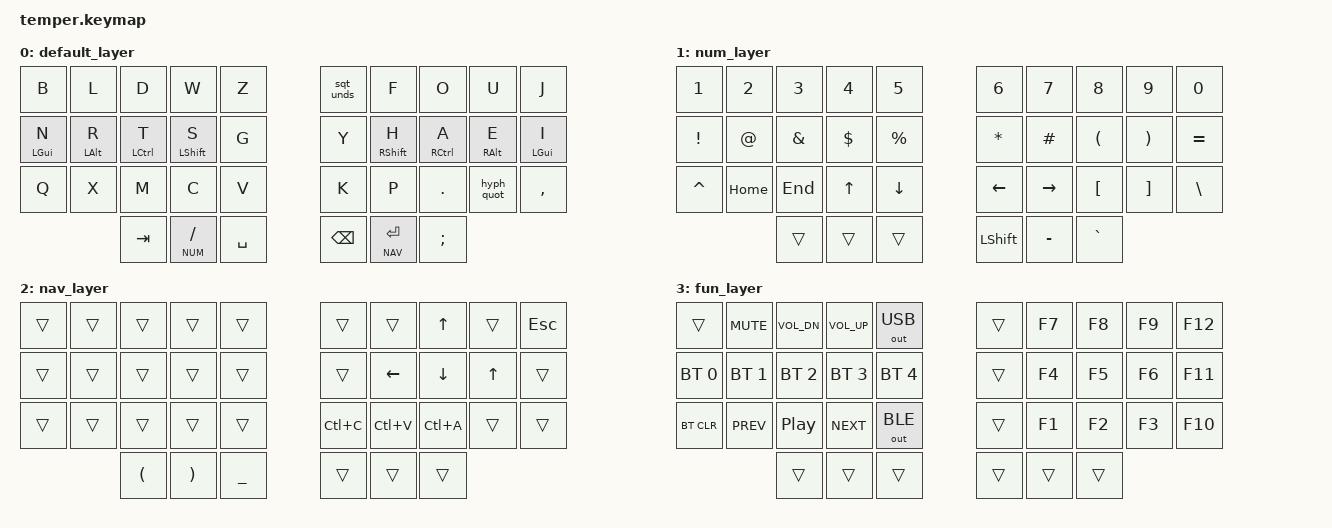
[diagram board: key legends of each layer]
/*
 * Copyright (c) 2020 The ZMK Contributors
 *
 * SPDX-License-Identifier: MIT
 */

#include <behaviors.dtsi>
#include <dt-bindings/zmk/keys.h>
#include <dt-bindings/zmk/bt.h>
#include <dt-bindings/zmk/outputs.h>

#define GRAPHITE 0
#define NUM 1
#define NAV 2
#define FUN 3

/ {
    conditional_layers {
        compatible = "zmk,conditional-layers";
        tri_layer {
            if-layers = <NUM NAV>;
            then-layer = <FUN>;
        };
    };
    behaviors {
        sqt_unds: apostrophe_underscore {
            compatible = "zmk,behavior-mod-morph";
            #binding-cells = <0>;
            bindings = <&kp SQT>, <&kp UNDER>;
            mods = <(MOD_LSFT|MOD_RSFT)>;
            keep-mods = <(MOD_RSFT)>;
        };
        hyph_quot: hyphen_doublequotes {
            compatible = "zmk,behavior-mod-morph";
            #binding-cells = <0>;
            bindings = <&kp MINUS>, <&kp DQT>;
            mods = <(MOD_LSFT|MOD_RSFT)>;
        };
        
    };
        keymap {
                compatible = "zmk,keymap";

                default_layer {
                        bindings = <
// ╭─────────────┬─────────────┬─────────────┬─────────────┬─────────────╮   ╭─────────────┬─────────────┬─────────────┬─────────────┬─────────────╮
        &kp B         &kp L         &kp D         &kp W         &kp Z             &sqt_unds    &kp F         &kp O         &kp U       &kp J   
// ├─────────────┼─────────────┼─────────────┼─────────────┼─────────────┤   ├─────────────┼─────────────┼─────────────┼─────────────┼─────────────┤
     &mt LGUI N    &mt LALT R     &mt LCTRL T  &mt LSHFT S      &kp G             &kp Y      &mt RSHFT H   &mt RCTRL A    &mt RALT E    &mt LGUI I
// ├─────────────┼─────────────┼─────────────┼─────────────┼─────────────┤   ├─────────────┼─────────────┼─────────────┼─────────────┼─────────────┤
        &kp Q         &kp X         &kp M         &kp C         &kp V             &kp K         &kp P        &kp DOT     &hyph_quot    &kp COMMA
// ╰─────────────┴─────────────┼─────────────┼─────────────┼─────────────┤   ├─────────────┼─────────────┼─────────────┼─────────────┴─────────────╯
                                 &kp TAB   &lt NUM SLASH &kp SPACE         &kp BACKSPACE  &lt NAV ENTER     &kp SEMI
//                             ╰─────────────┴─────────────┴─────────────╯   ╰─────────────┴─────────────┴─────────────╯
                        >;
                };
                num_layer {
                        bindings = <
// ╭─────────────┬─────────────┬─────────────┬─────────────┬─────────────╮   ╭─────────────┬─────────────┬─────────────┬─────────────┬─────────────╮
        &kp N1       &kp N2         &kp N3         &kp N4      &kp N5            &kp N6       &kp N7        &kp N8        &kp N9        &kp N0  
// ├─────────────┼─────────────┼─────────────┼─────────────┼─────────────┤   ├─────────────┼─────────────┼─────────────┼─────────────┼─────────────┤
       &kp EXCL    &kp AT         &kp AMPS     &kp DLLR      &kp PRCNT          &kp STAR      &kp HASH        &kp LPAR      &kp RPAR    &kp EQUAL
// ├─────────────┼─────────────┼─────────────┼─────────────┼─────────────┤   ├─────────────┼─────────────┼─────────────┼─────────────┼─────────────┤
       &kp CARET      &kp HOME    &kp END         &kp UP       &kp DOWN          &kp LEFT       &kp RIGHT     &kp LBKT      &kp RBKT    &kp BSLH
// ╰─────────────┴─────────────┼─────────────┼─────────────┼─────────────┤   ├─────────────┼─────────────┼─────────────┼─────────────┴─────────────╯
                                    &trans        &trans      &trans            &kp LSHFT       &kp MINUS    &kp GRAVE
//                             ╰─────────────┴─────────────┴─────────────╯   ╰─────────────┴─────────────┴─────────────╯
                        >;
                };
                nav_layer {
                        bindings = <
// ╭─────────────┬─────────────┬─────────────┬─────────────┬─────────────╮   ╭─────────────┬─────────────┬─────────────┬─────────────┬─────────────╮
      &trans         &trans         &trans        &trans       &trans            &trans       &trans        &kp UP        &trans      &kp ESC
// ├─────────────┼─────────────┼─────────────┼─────────────┼─────────────┤   ├─────────────┼─────────────┼─────────────┼─────────────┼─────────────┤
      &trans         &trans        &trans        &trans      &trans               &trans      &kp LEFT       &kp DOWN      &kp UP      &trans
// ├─────────────┼─────────────┼─────────────┼─────────────┼─────────────┤   ├─────────────┼─────────────┼─────────────┼─────────────┼─────────────┤
      &trans        &trans           &trans      &trans       &trans          &kp LC(C)      &kp LC(V)        &kp LC(A)       &trans       &trans
// ╰─────────────┴─────────────┼─────────────┼─────────────┼─────────────┤   ├─────────────┼─────────────┼─────────────┼─────────────┴─────────────╯
                                    &kp LPAR    &kp RPAR      &kp UNDER            &trans        &trans       &trans
//                             ╰─────────────┴─────────────┴─────────────╯   ╰─────────────┴─────────────┴─────────────╯
                        >;
                };

                fun_layer {
                        bindings = <
// ╭─────────────┬─────────────┬─────────────┬─────────────┬─────────────╮   ╭─────────────┬─────────────┬─────────────┬─────────────┬─────────────╮
      &trans       &kp K_MUTE    &kp C_VOL_DN  &kp C_VOL_UP  &out OUT_USB         &trans        &kp F7        &kp F8        &kp F9       &kp F12
// ├─────────────┼─────────────┼─────────────┼─────────────┼─────────────┤   ├─────────────┼─────────────┼─────────────┼─────────────┼─────────────┤
     &bt BT_SEL 0  &bt BT_SEL 1  &bt BT_SEL 2  &bt BT_SEL 3  &bt BT_SEL 4         &trans        &kp F4        &kp F5        &kp F6       &kp F11
// ├─────────────┼─────────────┼─────────────┼─────────────┼─────────────┤   ├─────────────┼─────────────┼─────────────┼─────────────┼─────────────┤
      &bt BT_CLR    &kp C_PREV     &kp C_PP     &kp C_NEXT   &out OUT_BLE         &trans        &kp F1        &kp F2        &kp F3       &kp F10
// ╰─────────────┴─────────────┼─────────────┼─────────────┼─────────────┤   ├─────────────┼─────────────┼─────────────┼─────────────┴─────────────╯
                                    &trans        &trans        &trans            &trans        &trans        &trans
//                             ╰─────────────┴─────────────┴─────────────╯   ╰─────────────┴─────────────┴─────────────╯
                        >;
                };
        };
};
